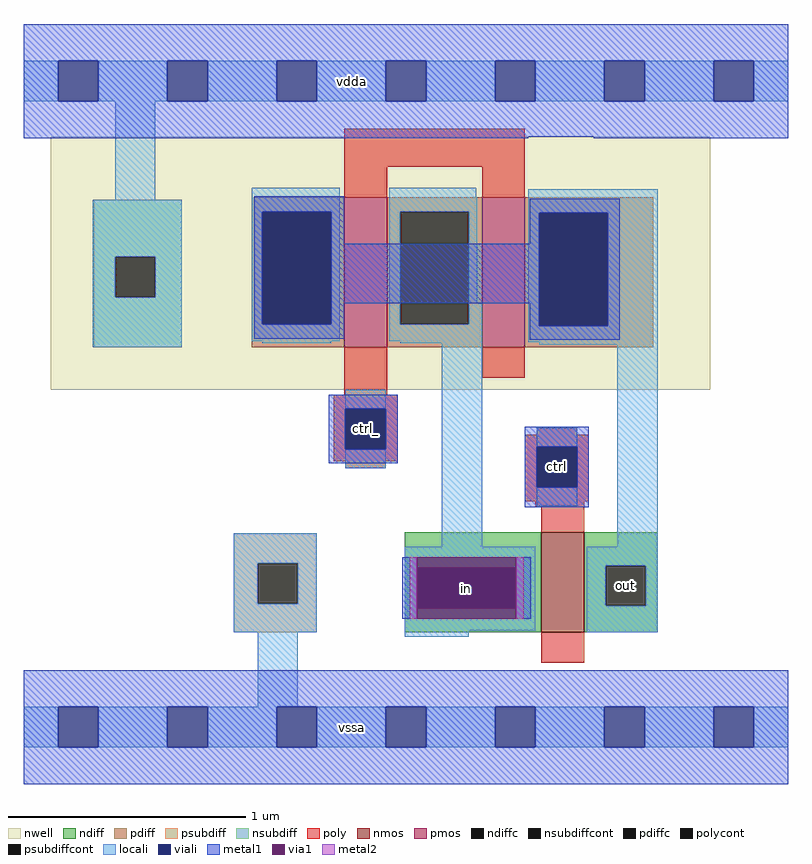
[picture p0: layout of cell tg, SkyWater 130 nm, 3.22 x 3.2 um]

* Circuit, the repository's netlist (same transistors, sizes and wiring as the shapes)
* SPICE3 file created from /Volumes/export/isn/ankur/Documents/fossi_cochlea/mag/final_designs/clkgen/tg.ext - technology: sky130A

X0 out GND inp VDDA sky130_fd_pr__pfet_01v8 ad=0p pd=0u as=0p ps=0u w=630000u l=180000u
X1 out GND inp VDDA sky130_fd_pr__pfet_01v8 ad=0p pd=0u as=0p ps=0u w=630000u l=180000u
X2 out VDDA inp GND sky130_fd_pr__nfet_01v8 ad=0p pd=0u as=0p ps=0u w=420000u l=180000u

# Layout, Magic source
magic
tech sky130B
magscale 1 2
<< nwell >>
rect -253 204 302 417
<< nmos >>
rect 160 0 196 84
<< pmos >>
rect -6 240 30 366
rect 110 240 146 366
<< ndiff >>
rect 45 54 160 84
rect 45 20 55 54
rect 139 20 160 54
rect 45 0 160 20
rect 196 56 258 84
rect 196 22 214 56
rect 248 22 258 56
rect 196 0 258 22
<< pdiff >>
rect -84 354 -6 366
rect -84 259 -75 354
rect -17 259 -6 354
rect -84 240 -6 259
rect 30 354 110 366
rect 30 259 41 354
rect 99 259 110 354
rect 30 240 110 259
rect 146 353 254 366
rect 146 258 158 353
rect 216 258 254 353
rect 146 240 254 258
<< ndiffc >>
rect 55 20 139 54
rect 214 22 248 56
<< pdiffc >>
rect -75 259 -17 354
rect 41 259 99 354
rect 158 258 216 353
<< psubdiff >>
rect -99 58 -29 83
rect -99 24 -79 58
rect -45 24 -29 58
rect -99 0 -29 24
<< nsubdiff >>
rect -217 316 -143 364
rect -217 282 -199 316
rect -165 282 -143 316
rect -217 240 -143 282
<< psubdiffcont >>
rect -79 24 -45 58
<< nsubdiffcont >>
rect -199 282 -165 316
<< poly >>
rect -6 392 146 424
rect -6 366 30 392
rect 110 366 146 392
rect -6 200 30 240
rect 110 214 146 240
rect -15 188 39 200
rect -15 154 -5 188
rect 29 154 39 188
rect 156 166 190 172
rect -15 144 39 154
rect 146 156 200 166
rect -5 138 29 144
rect 146 122 156 156
rect 190 122 200 156
rect 146 110 200 122
rect 155 106 196 110
rect 160 84 196 106
rect 160 -26 196 0
<< polycont >>
rect -5 154 29 188
rect 156 122 190 156
<< locali >>
rect -276 447 -247 481
rect -213 447 -155 481
rect -121 447 -63 481
rect -29 447 29 481
rect 63 447 121 481
rect 155 447 213 481
rect 247 447 305 481
rect 339 447 368 481
rect -199 364 -165 447
rect -218 316 -143 364
rect -218 282 -199 316
rect -165 282 -143 316
rect -218 240 -143 282
rect -84 354 -10 374
rect -84 259 -75 354
rect -17 259 -10 354
rect -84 245 -10 259
rect 32 366 105 374
rect 32 354 106 366
rect 32 259 41 354
rect 99 277 106 354
rect 149 353 258 373
rect 99 259 110 277
rect 32 245 110 259
rect -75 243 -17 245
rect 41 243 110 245
rect 149 258 158 353
rect 216 258 258 353
rect 149 244 258 258
rect -5 188 29 204
rect -5 138 29 154
rect -99 58 -29 83
rect 76 72 110 243
rect 158 242 258 244
rect 156 156 190 172
rect 156 106 190 122
rect 224 72 258 242
rect -99 24 -79 58
rect -45 24 -29 58
rect -99 0 -29 24
rect 45 54 155 72
rect 45 20 55 54
rect 139 20 155 54
rect 45 1 155 20
rect 198 56 258 72
rect 198 22 214 56
rect 248 22 258 56
rect -79 -63 -45 0
rect 45 -4 99 1
rect 198 0 258 22
rect -276 -97 -247 -63
rect -213 -97 -155 -63
rect -121 -97 -63 -63
rect -29 -97 29 -63
rect 63 -97 121 -63
rect 155 -97 213 -63
rect 247 -97 305 -63
rect 339 -97 368 -63
<< viali >>
rect -247 447 -213 481
rect -155 447 -121 481
rect -63 447 -29 481
rect 29 447 63 481
rect 121 447 155 481
rect 213 447 247 481
rect 305 447 339 481
rect -75 259 -17 354
rect 158 258 216 353
rect -5 154 29 188
rect 156 122 190 156
rect 55 20 139 54
rect -247 -97 -213 -63
rect -155 -97 -121 -63
rect -63 -97 -29 -63
rect 29 -97 63 -63
rect 121 -97 155 -63
rect 213 -97 247 -63
rect 305 -97 339 -63
<< metal1 >>
rect -276 481 368 512
rect -276 447 -247 481
rect -213 447 -155 481
rect -121 447 -63 481
rect -29 447 29 481
rect 63 447 121 481
rect 155 447 213 481
rect 247 447 305 481
rect 339 447 368 481
rect -276 417 368 447
rect -276 416 149 417
rect 204 416 368 417
rect -82 354 -6 367
rect -82 259 -75 354
rect -17 327 -6 354
rect 150 353 226 365
rect 150 327 158 353
rect -17 277 158 327
rect -17 259 -6 277
rect -82 247 -6 259
rect 150 258 158 277
rect 216 258 226 353
rect 150 246 226 258
rect -19 188 39 200
rect -19 154 -5 188
rect 29 154 39 188
rect -19 142 39 154
rect 146 156 200 173
rect 146 122 156 156
rect 190 122 200 156
rect 146 105 200 122
rect 43 11 55 63
rect 139 11 151 63
rect -276 -63 368 -32
rect -276 -97 -247 -63
rect -213 -97 -155 -63
rect -121 -97 -63 -63
rect -29 -97 29 -63
rect 63 -97 121 -63
rect 155 -97 213 -63
rect 247 -97 305 -63
rect 339 -97 368 -63
rect -276 -128 368 -97
<< via1 >>
rect 55 54 139 63
rect 55 20 139 54
rect 55 11 139 20
<< metal2 >>
rect 49 11 55 63
rect 139 11 145 63
<< labels >>
flabel metal1 -5 154 29 188 1 FreeSans 400 0 0 0 ctrl_
port 1 n default input
flabel metal1 156 122 190 156 1 FreeSans 400 0 0 0 ctrl
port 2 n default input
flabel metal1 -29 -128 29 -32 1 FreeSans 400 0 0 0 vssa
port 3 n default bidirectional
flabel metal1 -29 416 29 512 1 FreeSans 400 0 0 0 vdda
port 4 n default bidirectional
flabel metal2 55 20 139 54 1 FreeSans 400 0 0 0 in
port 5 n default input
flabel ndiffc 214 22 248 56 0 FreeSans 160 0 0 0 out
port 6 nsew default output
<< end >>
